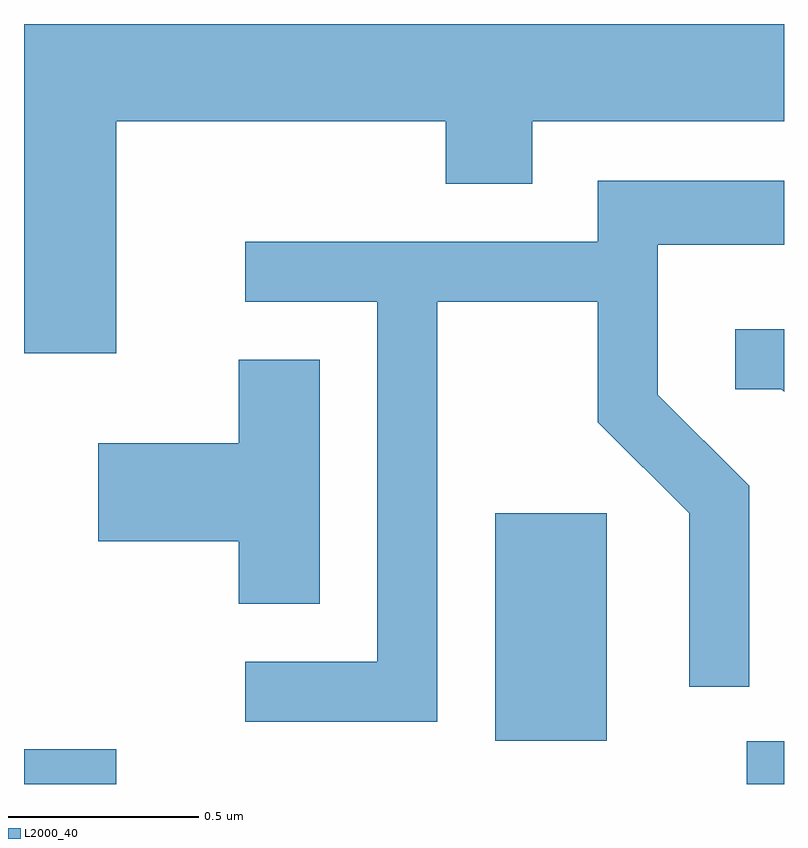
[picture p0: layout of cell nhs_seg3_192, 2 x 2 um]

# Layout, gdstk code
import gdstk
lib = gdstk.Library(unit=1e-6, precision=1e-09)
def R(c, l, rs):  # rectangles x0, y0, x1, y1
    for r in rs: c.add(gdstk.rectangle(r[:2], r[2:], *l))
def P(c, l, *ps):  # polygons
    for p in ps: c.add(gdstk.Polygon(p, *l))
L2000_40 = (2000, 40)

nhs_seg3_192 = lib.new_cell('nhs_seg3_192')
R(nhs_seg3_192, L2000_40, [(186.611,1170.892,186.854,1170.984), (188.513,1170.892,188.611,1171.004), (187.851,1171.006,188.144,1171.604)])
P(nhs_seg3_192, L2000_40, [(186.854,1172.636),(187.721,1172.636),(187.721,1172.471),(187.949,1172.471),(187.949,1172.636),(188.611,1172.636),(188.611,1172.892),(186.611,1172.892),(186.611,1172.026),(186.854,1172.026)],
  [(187.699,1172.161),(188.121,1172.161),(188.121,1171.844),(188.361,1171.604),(188.361,1171.148),(188.519,1171.148),(188.519,1171.677),(188.279,1171.917),(188.279,1172.311),(188.611,1172.311),(188.611,1172.479),(188.121,1172.479),(188.121,1172.319),(187.193,1172.319),(187.193,1172.161),(187.541,1172.161),(187.541,1171.214),(187.193,1171.214),(187.193,1171.056),(187.699,1171.056)],
  [(188.611,1172.089),(188.483,1172.089),(188.483,1171.931),(188.604,1171.931),(188.611,1171.924)],
  [(187.389,1172.009),(187.176,1172.009),(187.176,1171.789),(186.806,1171.789),(186.806,1171.531),(187.176,1171.531),(187.176,1171.366),(187.389,1171.366)])

lib.write_gds('nhs_seg3_192.gds')
